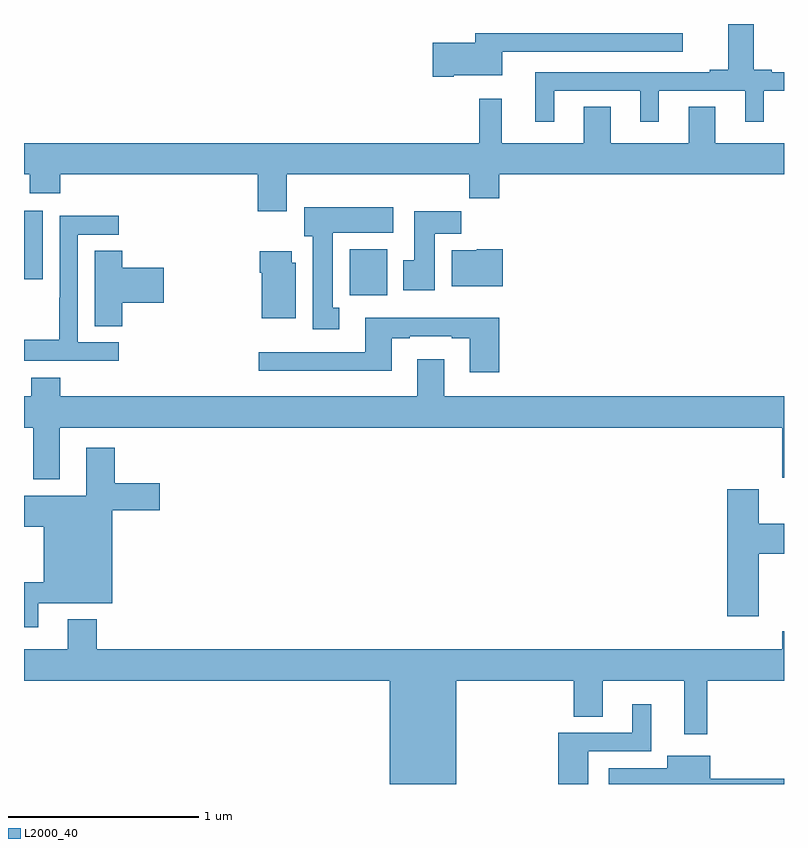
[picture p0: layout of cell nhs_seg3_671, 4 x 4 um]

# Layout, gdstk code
import gdstk
lib = gdstk.Library(unit=1e-6, precision=1e-09)
def R(c, l, rs):  # rectangles x0, y0, x1, y1
    for r in rs: c.add(gdstk.rectangle(r[:2], r[2:], *l))
def P(c, l, *ps):  # polygons
    for p in ps: c.add(gdstk.Polygon(p, *l))
L2000_40 = (2000, 40)

nhs_seg3_671 = lib.new_cell('nhs_seg3_671')
R(nhs_seg3_671, L2000_40, [(146.714,674.972,146.911,675.214), (145,675.057,145.099,675.418)])
P(nhs_seg3_671, L2000_40, [(147.79,676.05),(148.244,676.05),(148.244,675.885),(148.342,675.885),(148.342,676.05),(148.796,676.05),(148.796,675.885),(148.894,675.885),(148.894,676.05),(149,676.05),(149,676.146),(148.936,676.146),(148.936,676.159),(148.84,676.159),(148.84,676.4),(148.706,676.4),(148.706,676.159),(148.61,676.159),(148.61,676.146),(147.692,676.146),(147.692,675.885),(147.79,675.885)],
  [(147.262,676.13),(147.517,676.13),(147.517,676.254),(148.468,676.254),(148.468,676.351),(147.374,676.351),(147.374,676.301),(147.15,676.301),(147.15,676.123),(147.262,676.123)],
  [(146.383,675.608),(147.343,675.608),(147.343,675.484),(147.5,675.484),(147.5,675.608),(149,675.608),(149,675.772),(148.639,675.772),(148.639,675.965),(148.499,675.965),(148.499,675.772),(148.087,675.772),(148.087,675.965),(147.947,675.965),(147.947,675.772),(147.515,675.772),(147.515,676.006),(147.397,676.006),(147.397,675.772),(145,675.772),(145,675.608),(145.03,675.608),(145.03,675.509),(145.19,675.509),(145.19,675.608),(146.231,675.608),(146.231,675.414),(146.383,675.414)],
  [(146.659,674.906),(146.626,674.906),(146.626,675.302),(146.944,675.302),(146.944,675.436),(146.474,675.436),(146.474,675.282),(146.519,675.282),(146.519,674.793),(146.659,674.793)],
  [(147.163,675.296),(147.302,675.296),(147.302,675.415),(147.053,675.415),(147.053,675.156),(146.996,675.156),(146.996,675),(147.163,675)],
  [(145.498,674.724),(145.284,674.724),(145.284,675.291),(145.498,675.291),(145.498,675.39),(145.188,675.39),(145.188,674.96),(145.186,674.96),(145.186,674.737),(145,674.737),(145,674.628),(145.498,674.628)],
  [(147.52,675.214),(147.384,675.214),(147.384,675.208),(147.251,675.208),(147.251,675.02),(147.52,675.02)],
  [(145.517,674.933),(145.735,674.933),(145.735,675.116),(145.517,675.116),(145.517,675.206),(145.373,675.206),(145.373,674.809),(145.517,674.809)],
  [(146.431,675.144),(146.41,675.144),(146.41,675.205),(146.24,675.205),(146.24,675.092),(146.252,675.092),(146.252,674.852),(146.431,674.852)],
  [(147.5,674.854),(146.795,674.854),(146.795,674.673),(146.235,674.673),(146.235,674.576),(146.935,674.576),(146.935,674.745),(147.031,674.745),(147.031,674.757),(147.251,674.757),(147.251,674.745),(147.347,674.745),(147.347,674.568),(147.5,674.568)],
  [(145.189,674.276),(148.991,674.276),(148.991,674.011),(149,674.011),(149,674.44),(147.211,674.44),(147.211,674.635),(147.071,674.635),(147.071,674.44),(145.19,674.44),(145.19,674.539),(145.037,674.539),(145.037,674.44),(145,674.44),(145,674.276),(145.049,674.276),(145.049,674.003),(145.189,674.003)],
  [(145.075,673.352),(145.465,673.352),(145.465,673.841),(145.714,673.841),(145.714,673.983),(145.478,673.983),(145.478,674.17),(145.328,674.17),(145.328,673.918),(145,673.918),(145,673.754),(145.103,673.754),(145.103,673.462),(145,673.462),(145,673.224),(145.075,673.224)],
  [(148.867,673.613),(149,673.613),(149,673.771),(148.867,673.771),(148.867,673.951),(148.7,673.951),(148.7,673.284),(148.867,673.284)],
  [(145.382,673.267),(145.229,673.267),(145.229,673.108),(145,673.108),(145,672.944),(146.924,672.944),(146.924,672.4),(147.274,672.4),(147.274,672.944),(147.893,672.944),(147.893,672.754),(148.045,672.754),(148.045,672.944),(148.475,672.944),(148.475,672.663),(148.597,672.663),(148.597,672.944),(149,672.944),(149,673.204),(148.991,673.204),(148.991,673.108),(145.382,673.108)],
  [(147.97,672.573),(148.3,672.573),(148.3,672.82),(148.202,672.82),(148.202,672.669),(147.812,672.669),(147.812,672.4),(147.97,672.4)],
  [(149,672.428),(148.612,672.428),(148.612,672.55),(148.385,672.55),(148.385,672.483),(148.077,672.483),(148.077,672.4),(149,672.4)])

lib.write_gds('nhs_seg3_671.gds')
